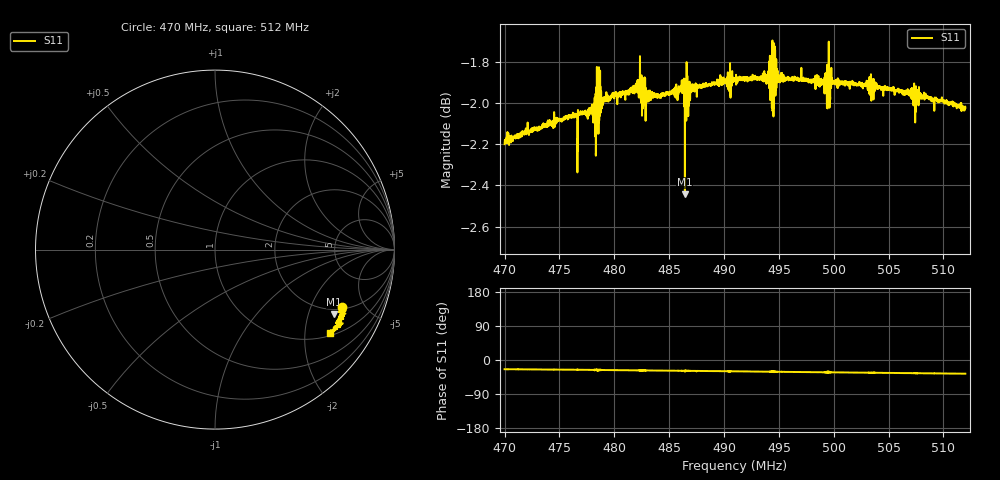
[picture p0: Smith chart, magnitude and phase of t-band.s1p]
! Calibrated averaged scanner-service zoom
# Hz S RI R 50
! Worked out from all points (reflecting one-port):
!   4001 points, 470 MHz to 512 MHz, reference 50 ohm
!   lowest |S11| = -2.4 dB at 486.4 MHz (marker M1), VSWR 7.16, Z = 88.6 - j148 ohm
!   phase of S11 starts at -24 deg and turns -12 deg over the sweep
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4.7e8  0.7075 -0.3196
4.7525e8  0.7103 -0.339
4.762685e8  0.7116 -0.3418
4.764575e8  0.7112 -0.3418
4.76888e8  0.7109 -0.3433
4.781165e8  0.712 -0.3486
4.78589e8  0.7076 -0.3422
4.805e8  0.7123 -0.3608
4.8218e8  0.7111 -0.3692
4.830305e8  0.707 -0.3692
4.8575e8  0.7047 -0.3801
4.862015e8  0.703 -0.3824
4.86254e8  0.7022 -0.3826
4.864325e8  0.6635 -0.36
4.86632e8  0.7032 -0.3811
4.866845e8  0.6986 -0.3815
4.868e8  0.7073 -0.3774
4.91e8  0.6983 -0.4003
4.94339e8  0.687 -0.4173
4.946645e8  0.6933 -0.4218
4.950845e8  0.6904 -0.4164
4.9625e8  0.6867 -0.4206
4.99127e8  0.6793 -0.4253
4.994735e8  0.678 -0.4315
4.997465e8  0.6843 -0.4324
5.015e8  0.6741 -0.4381
5.0675e8  0.6595 -0.4538
5.12e8  0.6401 -0.467
